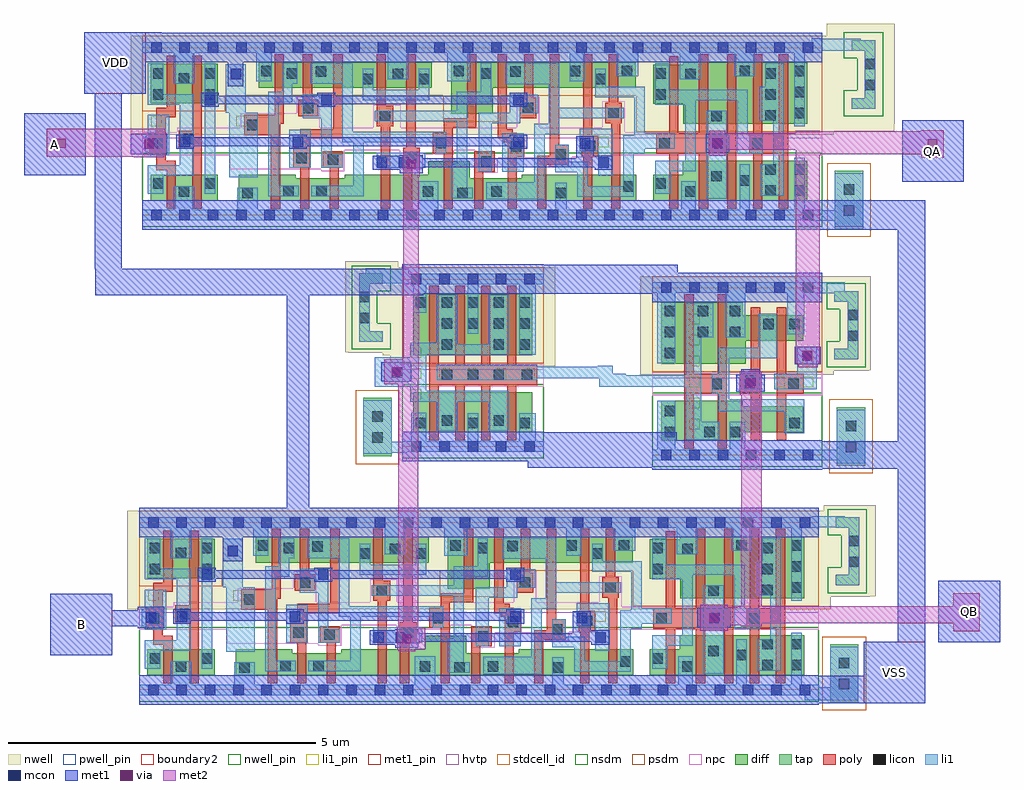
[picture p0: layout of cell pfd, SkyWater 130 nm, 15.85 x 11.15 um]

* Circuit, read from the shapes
.subckt pfd A B QA QB VDD VSS
XM1 VSS B n1 VSS sky130_fd_pr__nfet_01v8 w=0.42 l=0.15
XM2 VSS A n2 VSS sky130_fd_pr__nfet_01v8 w=0.42 l=0.15
XM3 n3 n1 VSS VSS sky130_fd_pr__nfet_01v8 w=0.42 l=0.15
XM4 n4 n2 VSS VSS sky130_fd_pr__nfet_01v8 w=0.42 l=0.15
XM5 n5 VDD VSS VSS sky130_fd_pr__nfet_01v8 w=0.42 l=0.15
XM6 n6 VDD VSS VSS sky130_fd_pr__nfet_01v8 w=0.42 l=0.15
XM7 n7 n1 n5 VSS sky130_fd_pr__nfet_01v8 w=0.36 l=0.15
XM8 n8 n2 n6 VSS sky130_fd_pr__nfet_01v8 w=0.36 l=0.15
XM9 n9 n3 n7 VSS sky130_fd_pr__nfet_01v8 w=0.36 l=0.15
XM10 n10 n4 n8 VSS sky130_fd_pr__nfet_01v8 w=0.36 l=0.15
XM11 n11 n12 n9 VSS sky130_fd_pr__nfet_01v8 w=0.42 l=0.15
XM12 n13 n14 n10 VSS sky130_fd_pr__nfet_01v8 w=0.42 l=0.15
XM13 VSS sky130_fd_sc_hd__dfrbp_2_1/RESET_B n11 VSS sky130_fd_pr__nfet_01v8 w=0.42 l=0.15
XM14 VSS sky130_fd_sc_hd__dfrbp_2_1/RESET_B n13 VSS sky130_fd_pr__nfet_01v8 w=0.42 l=0.15
XM15 sky130_fd_sc_hd__dfrbp_2_1/RESET_B sky130_fd_sc_hd__inv_4_0/A VSS VSS sky130_fd_pr__nfet_01v8 w=0.65 l=0.15 m=4
XM16 n12 n7 VSS VSS sky130_fd_pr__nfet_01v8 w=0.64 l=0.15
XM17 n14 n8 VSS VSS sky130_fd_pr__nfet_01v8 w=0.64 l=0.15
XM18 n15 n3 n12 VSS sky130_fd_pr__nfet_01v8 w=0.36 l=0.15
XM19 n16 n4 n14 VSS sky130_fd_pr__nfet_01v8 w=0.36 l=0.15
XM20 n17 n1 n15 VSS sky130_fd_pr__nfet_01v8 w=0.36 l=0.15
XM21 n18 n2 n16 VSS sky130_fd_pr__nfet_01v8 w=0.36 l=0.15
XM22 VSS n19 n17 VSS sky130_fd_pr__nfet_01v8 w=0.42 l=0.15
XM23 VSS n20 n18 VSS sky130_fd_pr__nfet_01v8 w=0.42 l=0.15
XM24 n21 sky130_fd_sc_hd__dfrbp_2_1/RESET_B VSS VSS sky130_fd_pr__nfet_01v8 w=0.42 l=0.15
XM25 n22 sky130_fd_sc_hd__dfrbp_2_1/RESET_B VSS VSS sky130_fd_pr__nfet_01v8 w=0.42 l=0.15
XM26 n19 n15 n21 VSS sky130_fd_pr__nfet_01v8 w=0.42 l=0.15
XM27 n20 n16 n22 VSS sky130_fd_pr__nfet_01v8 w=0.42 l=0.15
XM28 VSS n19 n23 VSS sky130_fd_pr__nfet_01v8 w=0.42 l=0.15
XM29 VSS n20 n24 VSS sky130_fd_pr__nfet_01v8 w=0.42 l=0.15
XM30 sky130_fd_sc_hd__inv_4_0/A n25 VSS VSS sky130_fd_pr__nfet_01v8 w=0.65 l=0.15 m=2
XM31 QB n19 VSS VSS sky130_fd_pr__nfet_01v8 w=0.65 l=0.15 m=2
XM32 QA n20 VSS VSS sky130_fd_pr__nfet_01v8 w=0.65 l=0.15 m=2
XM33 sky130_fd_sc_hd__dfrbp_2_1/Q_N n23 VSS VSS sky130_fd_pr__nfet_01v8 w=0.65 l=0.15 m=2
XM34 n26 QB VSS VSS sky130_fd_pr__nfet_01v8 w=0.42 l=0.15
XM35 sky130_fd_sc_hd__dfrbp_2_3/Q_N n24 VSS VSS sky130_fd_pr__nfet_01v8 w=0.65 l=0.15 m=2
XM36 n25 QA n26 VSS sky130_fd_pr__nfet_01v8 w=0.42 l=0.15
XM37 VDD B n1 VDD sky130_fd_pr__pfet_01v8_hvt w=0.64 l=0.15
XM38 VDD A n2 VDD sky130_fd_pr__pfet_01v8_hvt w=0.64 l=0.15
XM39 n3 n1 VDD VDD sky130_fd_pr__pfet_01v8_hvt w=0.64 l=0.15
XM40 n4 n2 VDD VDD sky130_fd_pr__pfet_01v8_hvt w=0.64 l=0.15
XM41 n5 VDD VDD VDD sky130_fd_pr__pfet_01v8_hvt w=0.42 l=0.15
XM42 n6 VDD VDD VDD sky130_fd_pr__pfet_01v8_hvt w=0.42 l=0.15
XM43 n7 n3 n5 VDD sky130_fd_pr__pfet_01v8_hvt w=0.42 l=0.15
XM44 n8 n4 n6 VDD sky130_fd_pr__pfet_01v8_hvt w=0.42 l=0.15
XM45 n27 n1 n7 VDD sky130_fd_pr__pfet_01v8_hvt w=0.42 l=0.15
XM46 n28 n2 n8 VDD sky130_fd_pr__pfet_01v8_hvt w=0.42 l=0.15
XM47 VDD n12 n27 VDD sky130_fd_pr__pfet_01v8_hvt w=0.42 l=0.15
XM48 VDD n14 n28 VDD sky130_fd_pr__pfet_01v8_hvt w=0.42 l=0.15
XM49 n27 sky130_fd_sc_hd__dfrbp_2_1/RESET_B VDD VDD sky130_fd_pr__pfet_01v8_hvt w=0.42 l=0.15
XM50 n28 sky130_fd_sc_hd__dfrbp_2_1/RESET_B VDD VDD sky130_fd_pr__pfet_01v8_hvt w=0.42 l=0.15
XM51 sky130_fd_sc_hd__dfrbp_2_1/RESET_B sky130_fd_sc_hd__inv_4_0/A VDD VDD sky130_fd_pr__pfet_01v8_hvt w=1 l=0.15 m=4
XM52 n12 n7 VDD VDD sky130_fd_pr__pfet_01v8_hvt w=0.84 l=0.15
XM53 n14 n8 VDD VDD sky130_fd_pr__pfet_01v8_hvt w=0.84 l=0.15
XM54 n15 n1 n12 VDD sky130_fd_pr__pfet_01v8_hvt w=0.42 l=0.15
XM55 n16 n2 n14 VDD sky130_fd_pr__pfet_01v8_hvt w=0.42 l=0.15
XM56 n29 n3 n15 VDD sky130_fd_pr__pfet_01v8_hvt w=0.42 l=0.15
XM57 n30 n4 n16 VDD sky130_fd_pr__pfet_01v8_hvt w=0.42 l=0.15
XM58 VDD n19 n29 VDD sky130_fd_pr__pfet_01v8_hvt w=0.42 l=0.15
XM59 VDD n20 n30 VDD sky130_fd_pr__pfet_01v8_hvt w=0.42 l=0.15
XM60 n19 sky130_fd_sc_hd__dfrbp_2_1/RESET_B VDD VDD sky130_fd_pr__pfet_01v8_hvt w=0.42 l=0.15
XM61 n20 sky130_fd_sc_hd__dfrbp_2_1/RESET_B VDD VDD sky130_fd_pr__pfet_01v8_hvt w=0.42 l=0.15
XM62 VDD n15 n19 VDD sky130_fd_pr__pfet_01v8_hvt w=0.42 l=0.15
XM63 VDD n16 n20 VDD sky130_fd_pr__pfet_01v8_hvt w=0.42 l=0.15
XM64 VDD n19 n23 VDD sky130_fd_pr__pfet_01v8_hvt w=0.64 l=0.15
XM65 VDD n20 n24 VDD sky130_fd_pr__pfet_01v8_hvt w=0.64 l=0.15
XM66 sky130_fd_sc_hd__inv_4_0/A n25 VDD VDD sky130_fd_pr__pfet_01v8_hvt w=1 l=0.15 m=2
XM67 QB n19 VDD VDD sky130_fd_pr__pfet_01v8_hvt w=1 l=0.15 m=2
XM68 QA n20 VDD VDD sky130_fd_pr__pfet_01v8_hvt w=1 l=0.15 m=2
XM69 sky130_fd_sc_hd__dfrbp_2_1/Q_N n23 VDD VDD sky130_fd_pr__pfet_01v8_hvt w=1 l=0.15 m=2
XM70 n25 QB VDD VDD sky130_fd_pr__pfet_01v8_hvt w=0.42 l=0.15
XM71 sky130_fd_sc_hd__dfrbp_2_3/Q_N n24 VDD VDD sky130_fd_pr__pfet_01v8_hvt w=1 l=0.15 m=2
XM72 VDD QA n25 VDD sky130_fd_pr__pfet_01v8_hvt w=0.42 l=0.15
.ends

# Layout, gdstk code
from math import pi, radians
import gdstk
lib = gdstk.Library(unit=1e-6, precision=1e-09)
def R(c, l, rs):  # rectangles x0, y0, x1, y1
    for r in rs: c.add(gdstk.rectangle(r[:2], r[2:], *l))
def A(c, l, x, y, w, h, nx, ny, dx, dy):  # array of equal rectangles
    R(c, l, [(x+i*dx, y+j*dy, x+i*dx+w, y+j*dy+h) for i in range(nx) for j in range(ny)])
def P(c, l, *ps):  # polygons
    for p in ps: c.add(gdstk.Polygon(p, *l))
nwell_pin = (64, 16)
nwell = (64, 20)
diff = (65, 20)
tap = (65, 44)
poly = (66, 20)
licon = (66, 44)
li1_pin = (67, 16)
li1 = (67, 20)
mcon = (67, 44)
met1_pin = (68, 16)
met1 = (68, 20)
via = (68, 44)
met2 = (69, 20)
hvtp = (78, 44)
stdcell_id = (81, 4)
nsdm = (93, 44)
psdm = (94, 20)
npc = (95, 20)
pwell_pin = (122, 16)
boundary2 = (236, 0)

sky130_fd_sc_hd__inv_4 = lib.new_cell('sky130_fd_sc_hd__inv_4')
R(sky130_fd_sc_hd__inv_4, nwell_pin, [(0.145,2.635,0.315,2.805)])
R(sky130_fd_sc_hd__inv_4, nwell, [(-0.19,1.305,2.49,2.91)])
R(sky130_fd_sc_hd__inv_4, diff, [(0.185,0.235,2.115,0.885), (0.185,1.485,2.115,2.485)])
P(sky130_fd_sc_hd__inv_4, poly, [(1.855,2.615),(1.705,2.615),(1.705,1.325),(1.435,1.325),(1.435,2.615),(1.285,2.615),(1.285,1.325),(1.015,1.325),(1.015,2.615),(0.865,2.615),(0.865,1.325),(0.595,1.325),(0.595,2.615),(0.445,2.615),(0.445,1.325),(0.105,1.325),(0.105,0.995),(0.445,0.995),(0.445,0.105),(0.595,0.105),(0.595,0.995),(0.865,0.995),(0.865,0.105),(1.015,0.105),(1.015,0.995),(1.285,0.995),(1.285,0.105),(1.435,0.105),(1.435,0.995),(1.705,0.995),(1.705,0.105),(1.855,0.105)])
A(sky130_fd_sc_hd__inv_4, licon, 0.645, 1.075, 0.17, 0.17, 3, 1, 0.42, 0)
A(sky130_fd_sc_hd__inv_4, licon, 0.225, 1.915, 0.17, 0.17, 4, 1, 0.42, 0)
A(sky130_fd_sc_hd__inv_4, licon, 0.225, 2.255, 0.17, 0.17, 5, 1, 0.42, 0)
R(sky130_fd_sc_hd__inv_4, licon, [(0.225,0.295,0.395,0.465), (1.065,0.295,1.235,0.465), (1.905,0.3,2.075,0.47), (0.645,0.335,0.815,0.505), (1.485,0.335,1.655,0.505), (0.185,1.075,0.355,1.245), (0.225,1.575,0.395,1.745), (0.645,1.575,0.815,1.745), (1.485,1.575,1.655,1.745)])
A(sky130_fd_sc_hd__inv_4, li1_pin, 0.145, 1.105, 0.17, 0.17, 5, 1, 0.46, 0)
R(sky130_fd_sc_hd__inv_4, li1_pin, [(1.985,0.765,2.155,0.935), (1.985,1.445,2.155,1.615)])
R(sky130_fd_sc_hd__inv_4, li1, [(0.105,1.075,1.735,1.325)])
P(sky130_fd_sc_hd__inv_4, li1, [(2.3,0.085),(2.155,0.085),(2.155,0.55),(1.905,0.55),(1.905,0.085),(1.235,0.085),(1.235,0.545),(1.065,0.545),(1.065,0.085),(0.395,0.085),(0.395,0.545),(0.13,0.545),(0.13,0.085),(0,0.085),(0,-0.085),(2.3,-0.085)],
  [(2.3,2.805),(0,2.805),(0,2.635),(0.13,2.635),(0.13,1.495),(0.395,1.495),(0.395,2.635),(1.065,2.635),(1.065,1.835),(1.235,1.835),(1.235,2.635),(1.905,2.635),(1.905,2.175),(2.115,2.175),(2.115,2.635),(2.3,2.635)],
  [(2.17,1.685),(1.735,1.685),(1.735,2.465),(1.405,2.465),(1.405,1.665),(0.895,1.665),(0.895,2.465),(0.565,2.465),(0.565,1.495),(1.905,1.495),(1.905,0.905),(0.565,0.905),(0.565,0.255),(0.895,0.255),(0.895,0.725),(1.405,0.725),(1.405,0.255),(1.735,0.255),(1.735,0.725),(2.17,0.725)])
A(sky130_fd_sc_hd__inv_4, mcon, 0.145, -0.085, 0.17, 0.17, 5, 2, 0.46, 2.72)
R(sky130_fd_sc_hd__inv_4, met1_pin, [(0.145,-0.085,0.315,0.085), (0.145,2.635,0.315,2.805)])
R(sky130_fd_sc_hd__inv_4, hvtp, [(0,1.25,2.3,2.72)])
R(sky130_fd_sc_hd__inv_4, stdcell_id, [(0,0,2.3,2.72)])
R(sky130_fd_sc_hd__inv_4, nsdm, [(0,-0.19,2.3,1.015)])
R(sky130_fd_sc_hd__inv_4, psdm, [(0,1.355,2.3,2.91)])
R(sky130_fd_sc_hd__inv_4, npc, [(0,0.975,2.3,1.345)])
R(sky130_fd_sc_hd__inv_4, pwell_pin, [(0.145,-0.085,0.315,0.085)])
R(sky130_fd_sc_hd__inv_4, boundary2, [(0,0,2.3,2.72)])
sky130_fd_sc_hd__inv_4.add(gdstk.FlexPath([(0,2.72),(2.3,2.72)], 0.48, ends="flush", simple_path=True, layer=68, datatype=20))  # met1
sky130_fd_sc_hd__inv_4.add(gdstk.FlexPath([(0,0),(2.3,0)], 0.48, ends="flush", simple_path=True, layer=68, datatype=20))  # met1
sky130_fd_sc_hd__inv_4.add(gdstk.Label('Y', (2.07,0.85), layer=67, texttype=5))
sky130_fd_sc_hd__inv_4.add(gdstk.Label('Y', (2.07,1.19), layer=67, texttype=5))
sky130_fd_sc_hd__inv_4.add(gdstk.Label('Y', (2.07,1.53), layer=67, texttype=5))
sky130_fd_sc_hd__inv_4.add(gdstk.Label('A', (0.23,1.19), layer=67, texttype=5))
sky130_fd_sc_hd__inv_4.add(gdstk.Label('A', (0.69,1.19), layer=67, texttype=5))
sky130_fd_sc_hd__inv_4.add(gdstk.Label('A', (1.15,1.19), layer=67, texttype=5))
sky130_fd_sc_hd__inv_4.add(gdstk.Label('A', (1.61,1.19), layer=67, texttype=5))
sky130_fd_sc_hd__inv_4.add(gdstk.Label('VPB', (0.23,2.72), layer=64, texttype=5))
sky130_fd_sc_hd__inv_4.add(gdstk.Label('VNB', (0.23,0), layer=64, texttype=59))
sky130_fd_sc_hd__inv_4.add(gdstk.Label('VPWR', (0.23,2.72), layer=68, texttype=5))
sky130_fd_sc_hd__inv_4.add(gdstk.Label('VGND', (0.23,0), layer=68, texttype=5))
sky130_fd_sc_hd__inv_4.add(gdstk.Label('inv_4', (0,0), layer=83, texttype=44))

sky130_fd_sc_hd__dfrbp_2 = lib.new_cell('sky130_fd_sc_hd__dfrbp_2')
R(sky130_fd_sc_hd__dfrbp_2, nwell_pin, [(0.145,2.635,0.315,2.805)])
R(sky130_fd_sc_hd__dfrbp_2, nwell, [(-0.19,1.305,11.23,2.91)])
R(sky130_fd_sc_hd__dfrbp_2, diff, [(0.135,0.235,1.225,0.655), (0.135,1.815,1.225,2.455), (3.305,2.065,4.7,2.485)])
P(sky130_fd_sc_hd__dfrbp_2, diff, [(8.015,2.485),(5.015,2.485),(5.015,1.645),(5.695,1.645),(5.695,2.065),(8.015,2.065)],
  [(10.8,0.885),(8.78,0.885),(8.78,0.655),(8.295,0.655),(8.295,0.235),(10.8,0.235)],
  [(8.025,0.655),(6.165,0.655),(6.165,0.595),(5.315,0.595),(5.315,0.875),(4.645,0.875),(4.645,0.655),(3.285,0.655),(3.285,0.595),(2.49,0.595),(2.49,0.655),(1.565,0.655),(1.565,0.235),(8.025,0.235)],
  [(3.335,2.485),(1.89,2.485),(1.89,2.065),(3.33,2.065),(3.33,2.48),(3.335,2.48)],
  [(10.8,2.485),(8.79,2.485),(8.79,2.445),(8.295,2.445),(8.295,1.805),(8.79,1.805),(8.79,1.485),(10.8,1.485)])
R(sky130_fd_sc_hd__dfrbp_2, poly, [(3.875,0.105,4.025,1.515), (4.29,1.055,4.44,2.615), (3.805,1.445,4.08,1.775), (3.805,1.76,3.955,2.615)])
P(sky130_fd_sc_hd__dfrbp_2, poly, [(7.79,1.825),(7.73,1.825),(7.73,2.615),(7.58,2.615),(7.58,1.825),(7.52,1.825),(7.52,1.495),(7.615,1.495),(7.615,0.105),(7.765,0.105),(7.765,1.495),(7.79,1.495)],
  [(10.49,2.615),(10.34,2.615),(10.34,1.325),(10.07,1.325),(10.07,2.615),(9.92,2.615),(9.92,1.325),(9.86,1.325),(9.86,0.995),(9.92,0.995),(9.92,0.105),(10.07,0.105),(10.07,0.995),(10.34,0.995),(10.34,0.105),(10.49,0.105)],
  [(0.545,0.88),(0.38,0.88),(0.38,1.59),(0.545,1.59),(0.545,2.585),(0.395,2.585),(0.395,1.74),(0.23,1.74),(0.23,1.325),(0.11,1.325),(0.11,0.995),(0.23,0.995),(0.23,0.73),(0.395,0.73),(0.395,0.105),(0.545,0.105)],
  [(0.965,2.585),(0.815,2.585),(0.815,1.37),(0.59,1.37),(0.59,1.1),(0.815,1.1),(0.815,0.105),(0.965,0.105)],
  [(2.3,2.615),(2.15,2.615),(2.15,1.63),(1.655,1.63),(1.655,1.3),(2.09,1.3),(2.09,0.105),(2.24,0.105),(2.24,1.48),(2.3,1.48)],
  [(3.255,2.615),(3.105,2.615),(3.105,1.395),(2.565,1.395),(2.565,1.095),(2.45,1.095),(2.45,0.765),(2.565,0.765),(2.565,0.105),(2.715,0.105),(2.715,0.765),(2.72,0.765),(2.72,1.245),(3.255,1.245)],
  [(2.86,1.875),(2.76,1.875),(2.76,2.615),(2.61,2.615),(2.61,1.875),(2.53,1.875),(2.53,1.605),(2.86,1.605)],
  [(3.26,1.035),(2.93,1.035),(2.93,0.765),(3.045,0.765),(3.045,0.105),(3.195,0.105),(3.195,0.765),(3.26,0.765)],
  [(4.505,1.095),(4.235,1.095),(4.235,0.105),(4.385,0.105),(4.385,0.765),(4.505,0.765)],
  [(5.425,2.615),(5.275,2.615),(5.275,1.57),(4.895,1.57),(4.895,1.335),(4.715,1.335),(4.715,1.005),(4.895,1.005),(4.895,0.105),(5.045,0.105),(5.045,1.42),(5.425,1.42)],
  [(5.725,1.035),(5.39,1.035),(5.39,0.105),(5.54,0.105),(5.54,0.705),(5.725,0.705)],
  [(6.205,1.275),(6.085,1.275),(6.085,1.335),(6.02,1.335),(6.02,1.395),(5.92,1.395),(5.92,2.615),(5.77,2.615),(5.77,1.245),(5.875,1.245),(5.875,1.185),(5.935,1.185),(5.935,0.105),(6.085,0.105),(6.085,0.945),(6.205,0.945)],
  [(6.4,1.905),(6.35,1.905),(6.35,2.615),(6.2,2.615),(6.2,1.905),(6.13,1.905),(6.13,1.575),(6.4,1.575)],
  [(6.925,1.145),(6.77,1.145),(6.77,2.615),(6.62,2.615),(6.62,0.965),(6.415,0.965),(6.415,0.105),(6.565,0.105),(6.565,0.815),(6.925,0.815)],
  [(7.405,1.285),(7.31,1.285),(7.31,2.615),(7.16,2.615),(7.16,1.285),(7.135,1.285),(7.135,0.955),(7.16,0.955),(7.16,0.105),(7.31,0.105),(7.31,0.955),(7.405,0.955)],
  [(9.65,2.615),(9.5,2.615),(9.5,1.325),(9.19,1.325),(9.19,2.615),(9.04,2.615),(9.04,1.325),(8.705,1.325),(8.705,2.575),(8.555,2.575),(8.555,1.325),(8.35,1.325),(8.35,0.995),(8.555,0.995),(8.555,0.105),(8.705,0.105),(8.705,0.995),(9.04,0.995),(9.04,0.105),(9.19,0.105),(9.19,0.995),(9.5,0.995),(9.5,0.105),(9.65,0.105)])
A(sky130_fd_sc_hd__dfrbp_2, licon, 10.12, 1.535, 0.17, 0.17, 1, 3, 0, 0.34)
A(sky130_fd_sc_hd__dfrbp_2, licon, 10.59, 1.575, 0.17, 0.17, 1, 3, 0, 0.34)
R(sky130_fd_sc_hd__dfrbp_2, licon, [(1.625,0.275,1.795,0.445), (5.115,0.275,5.285,0.445), (6.725,0.275,6.895,0.445), (0.595,0.295,0.765,0.465), (4.555,0.295,4.725,0.465), (5.665,0.295,5.835,0.465), (8.82,0.295,8.99,0.465), (2.29,0.305,2.46,0.475), (2.825,0.305,2.995,0.475), (10.12,0.315,10.29,0.485), (10.59,0.315,10.76,0.485), (7.815,0.375,7.985,0.545), (0.175,0.425,0.345,0.595), (1.015,0.425,1.185,0.595), (8.335,0.425,8.505,0.595), (9.7,0.48,9.87,0.65), (9.24,0.545,9.41,0.715), (10.12,0.655,10.29,0.825), (10.59,0.655,10.76,0.825), (5.505,0.785,5.675,0.955), (3.01,0.815,3.18,0.985), (2.5,0.845,2.67,1.015), (4.285,0.845,4.455,1.015), (6.705,0.895,6.875,1.065), (5.985,1.025,6.155,1.195), (7.185,1.035,7.355,1.205), (0.16,1.075,0.33,1.245), (8.4,1.075,8.57,1.245), (9.91,1.075,10.08,1.245), (4.765,1.085,4.935,1.255), (0.67,1.15,0.84,1.32), (1.705,1.38,1.875,1.55), (3.855,1.525,4.025,1.695), (9.24,1.525,9.41,1.695), (7.57,1.575,7.74,1.745), (2.61,1.655,2.78,1.825), (6.18,1.655,6.35,1.825), (0.175,1.875,0.345,2.045), (1.015,1.875,1.185,2.045), (8.335,1.875,8.505,2.045), (3.585,2.125,3.755,2.295), (4.49,2.125,4.66,2.295), (7.36,2.125,7.53,2.295), (0.595,2.135,0.765,2.305), (4.07,2.205,4.24,2.375), (8.82,2.205,8.99,2.375), (0.175,2.215,0.345,2.385), (1.015,2.215,1.185,2.385), (2.35,2.215,2.52,2.385), (5.495,2.215,5.665,2.385), (8.335,2.215,8.505,2.385), (2.815,2.245,2.985,2.415), (5.98,2.25,6.15,2.42), (1.93,2.255,2.1,2.425), (5.055,2.255,5.225,2.425), (6.94,2.255,7.11,2.425), (7.79,2.255,7.96,2.425), (9.7,2.255,9.87,2.425)])
R(sky130_fd_sc_hd__dfrbp_2, li1_pin, [(7.405,0.765,7.575,0.935), (9.255,1.065,9.415,1.245), (0.15,1.105,0.32,1.275), (7.405,1.105,7.575,1.275), (10.275,1.11,10.39,1.285), (0.15,1.445,0.32,1.615), (1.525,1.445,1.695,1.615)])
R(sky130_fd_sc_hd__dfrbp_2, li1, [(0,-0.085,9.2,0.085), (1.545,-0.03,1.875,0.445), (8.755,0.02,8.99,0.545), (10.59,0.025,10.76,0.93), (9.7,0.035,9.87,0.825), (4.475,0.055,4.805,0.545), (0.515,0.06,0.845,0.465), (6.705,0.065,6.895,0.525), (9.16,0.265,9.495,1.695), (1.015,0.345,1.185,2.465), (1.415,0.615,1.875,1.665), (5.845,0.705,6.195,1.325), (2.385,0.765,2.735,1.385), (3.805,0.765,4.595,1.015), (0.09,0.975,0.44,1.625), (8.145,1.075,8.65,1.325), (10.59,1.445,10.76,2.715), (3.775,1.525,5.13,1.695), (1.355,1.665,1.68,2.45), (0.515,2.135,0.845,2.665), (4.955,2.175,5.325,2.675), (6.94,2.175,7.19,2.69), (3.99,2.205,4.32,2.69), (8.73,2.205,9.07,2.675), (7.71,2.255,8.055,2.7), (9.62,2.255,9.95,2.675)])
P(sky130_fd_sc_hd__dfrbp_2, li1, [(0.84,1.965),(0.345,1.965),(0.345,2.465),(0.09,2.465),(0.09,1.795),(0.61,1.795),(0.61,0.805),(0.09,0.805),(0.09,0.345),(0.345,0.345),(0.345,0.635),(0.84,0.635)],
  [(2.54,0.475),(2.215,0.475),(2.215,1.835),(2.44,1.835),(2.44,2.135),(2.52,2.135),(2.52,2.465),(2.27,2.465),(2.27,2.005),(2.045,2.005),(2.045,0.305),(2.54,0.305)],
  [(3.26,0.985),(3.075,0.985),(3.075,1.965),(2.61,1.965),(2.61,1.575),(2.905,1.575),(2.905,0.765),(3.26,0.765)],
  [(4.935,1.355),(3.415,1.355),(3.415,2.465),(2.735,2.465),(2.735,2.135),(3.245,2.135),(3.245,1.185),(3.43,1.185),(3.43,0.475),(2.745,0.475),(2.745,0.305),(3.6,0.305),(3.6,1.185),(4.765,1.185),(4.765,1.005),(4.935,1.005)],
  [(5.665,2.465),(5.495,2.465),(5.495,2.005),(5.105,2.005),(5.105,0.835),(5.015,0.835),(5.015,0.275),(5.365,0.275),(5.365,0.445),(5.275,0.445),(5.275,1.835),(5.665,1.835)],
  [(6.43,1.955),(5.97,1.955),(5.97,1.665),(5.465,1.665),(5.465,0.705),(5.675,0.705),(5.675,1.495),(6.14,1.495),(6.14,1.655),(6.43,1.655)],
  [(7.645,1.405),(7.105,1.405),(7.105,1.035),(7.405,1.035),(7.405,0.635),(7.645,0.635)],
  [(7.82,1.745),(6.77,1.745),(6.77,2.465),(5.9,2.465),(5.9,2.125),(6.6,2.125),(6.6,1.485),(6.365,1.485),(6.365,0.535),(5.585,0.535),(5.585,0.255),(6.535,0.255),(6.535,1.315),(6.77,1.315),(6.77,1.575),(7.82,1.575)],
  [(9.2,2.805),(0,2.805),(0,2.635),(1.85,2.635),(1.85,2.175),(2.1,2.175),(2.1,2.635),(9.2,2.635)],
  [(8.16,2.085),(7.53,2.085),(7.53,2.375),(7.36,2.375),(7.36,1.915),(7.99,1.915),(7.99,1.295),(7.815,1.295),(7.815,0.465),(7.235,0.465),(7.235,0.865),(6.925,0.865),(6.925,1.145),(6.705,1.145),(6.705,0.695),(7.065,0.695),(7.065,0.295),(7.985,0.295),(7.985,0.995),(8.16,0.995)],
  [(10.42,2.465),(10.12,2.465),(10.12,2.08),(10.03,2.08),(10.03,1.535),(10.25,1.535),(10.25,0.825),(10.04,0.825),(10.04,0.31),(10.42,0.31)],
  [(10.08,1.325),(9.835,1.325),(9.835,2.035),(8.56,2.035),(8.56,2.465),(8.335,2.465),(8.335,1.795),(8.82,1.795),(8.82,0.885),(8.335,0.885),(8.335,0.345),(8.585,0.345),(8.585,0.715),(8.99,0.715),(8.99,1.865),(9.665,1.865),(9.665,0.995),(10.08,0.995)],
  [(4.66,2.375),(4.49,2.375),(4.49,2.035),(3.755,2.035),(3.755,2.375),(3.585,2.375),(3.585,1.865),(4.66,1.865)])
A(sky130_fd_sc_hd__dfrbp_2, mcon, 0.145, -0.085, 0.17, 0.17, 24, 2, 0.46, 2.72)
R(sky130_fd_sc_hd__dfrbp_2, mcon, [(3.805,0.765,3.975,0.935), (4.165,0.765,4.335,0.935), (7.405,0.765,7.575,0.935), (7.105,1.08,7.275,1.25), (0.61,1.105,0.78,1.275), (2.445,1.105,2.615,1.275), (6.025,1.105,6.195,1.275), (1.015,1.785,1.185,1.955), (2.905,1.785,3.075,1.955), (6.025,1.785,6.195,1.955)])
R(sky130_fd_sc_hd__dfrbp_2, met1_pin, [(0.145,-0.085,0.315,0.085), (0.145,2.635,0.315,2.805)])
R(sky130_fd_sc_hd__dfrbp_2, met1, [(7.045,0.91,7.335,1.28), (0.55,1.075,0.84,1.305), (5.965,1.075,6.255,1.305), (0.955,1.755,1.245,1.985), (5.965,1.755,6.255,1.985)])
P(sky130_fd_sc_hd__dfrbp_2, met1, [(7.635,0.965),(7.335,0.965),(7.335,0.92),(4.395,0.92),(4.395,0.965),(3.745,0.965),(3.745,0.735),(4.395,0.735),(4.395,0.78),(7.345,0.78),(7.345,0.735),(7.635,0.735)],
  [(6.075,1.94),(3.135,1.94),(3.135,1.985),(2.845,1.985),(2.845,1.94),(1.185,1.94),(1.185,1.8),(2.845,1.8),(2.845,1.755),(3.135,1.755),(3.135,1.8),(6.075,1.8)],
  [(6.045,1.26),(2.675,1.26),(2.675,1.305),(2.385,1.305),(2.385,1.26),(0.82,1.26),(0.82,1.12),(2.385,1.12),(2.385,1.075),(2.675,1.075),(2.675,1.12),(6.045,1.12)])
A(sky130_fd_sc_hd__dfrbp_2, hvtp, 9.2, 1.25, 0.46, 1.47, 4, 1, 0.46, 0)
R(sky130_fd_sc_hd__dfrbp_2, hvtp, [(0,1.25,9.2,2.72)])
R(sky130_fd_sc_hd__dfrbp_2, stdcell_id, [(0,0,11.04,2.72)])
R(sky130_fd_sc_hd__dfrbp_2, nsdm, [(0,-0.19,11.04,1.015)])
P(sky130_fd_sc_hd__dfrbp_2, psdm, [(11.04,2.91),(0,2.91),(0,1.685),(1.35,1.685),(1.35,1.935),(4.885,1.935),(4.885,1.515),(5.825,1.515),(5.825,1.935),(8.02,1.935),(8.02,1.355),(11.04,1.355)])
R(sky130_fd_sc_hd__dfrbp_2, npc, [(3.755,1.365,4.195,1.795)])
P(sky130_fd_sc_hd__dfrbp_2, npc, [(11.04,1.345),(7.84,1.345),(7.84,1.845),(7.47,1.845),(7.47,1.42),(6.45,1.42),(6.45,1.925),(6.08,1.925),(6.08,1.42),(2.88,1.42),(2.88,1.925),(2.51,1.925),(2.51,1.65),(1.6,1.65),(1.6,1.42),(0.565,1.42),(0.565,1.345),(0,1.345),(0,0.975),(1.425,0.975),(1.425,0.745),(2.91,0.745),(2.91,0.715),(3.28,0.715),(3.28,1.05),(4.185,1.05),(4.185,0.745),(4.555,0.745),(4.555,0.985),(5.055,0.985),(5.055,1.05),(5.405,1.05),(5.405,0.685),(5.775,0.685),(5.775,0.925),(6.605,0.925),(6.605,0.795),(6.975,0.795),(6.975,0.935),(7.455,0.935),(7.455,0.975),(11.04,0.975)])
R(sky130_fd_sc_hd__dfrbp_2, pwell_pin, [(0.145,-0.085,0.315,0.085)])
R(sky130_fd_sc_hd__dfrbp_2, boundary2, [(0,0,11.04,2.72)])
sky130_fd_sc_hd__dfrbp_2.add(gdstk.FlexPath([(0,0),(9.2,0)], 0.48, ends="flush", simple_path=True, layer=68, datatype=20))  # met1
sky130_fd_sc_hd__dfrbp_2.add(gdstk.FlexPath([(0,2.72),(9.2,2.72)], 0.48, ends="flush", simple_path=True, layer=68, datatype=20))  # met1
sky130_fd_sc_hd__dfrbp_2.add(gdstk.FlexPath([(10.12,0),(10.58,0)], 0.48, ends="flush", simple_path=True, layer=68, datatype=20))  # met1
sky130_fd_sc_hd__dfrbp_2.add(gdstk.FlexPath([(10.12,2.72),(10.58,2.72)], 0.48, ends="flush", simple_path=True, layer=68, datatype=20))  # met1
sky130_fd_sc_hd__dfrbp_2.add(gdstk.FlexPath([(10.58,2.72),(11.04,2.72)], 0.48, ends="flush", simple_path=True, layer=68, datatype=20))  # met1
sky130_fd_sc_hd__dfrbp_2.add(gdstk.FlexPath([(10.58,0),(11.04,0)], 0.48, ends="flush", simple_path=True, layer=68, datatype=20))  # met1
sky130_fd_sc_hd__dfrbp_2.add(gdstk.FlexPath([(9.2,0),(9.66,0)], 0.48, ends="flush", simple_path=True, layer=68, datatype=20))  # met1
sky130_fd_sc_hd__dfrbp_2.add(gdstk.FlexPath([(9.2,2.72),(9.66,2.72)], 0.48, ends="flush", simple_path=True, layer=68, datatype=20))  # met1
sky130_fd_sc_hd__dfrbp_2.add(gdstk.FlexPath([(9.66,0),(10.12,0)], 0.48, ends="flush", simple_path=True, layer=68, datatype=20))  # met1
sky130_fd_sc_hd__dfrbp_2.add(gdstk.FlexPath([(9.66,2.72),(10.12,2.72)], 0.48, ends="flush", simple_path=True, layer=68, datatype=20))  # met1
sky130_fd_sc_hd__dfrbp_2.add(gdstk.FlexPath([(10.12,2.72),(10.58,2.72)], 0.17, ends="flush", simple_path=True, layer=67, datatype=20))  # li1
sky130_fd_sc_hd__dfrbp_2.add(gdstk.FlexPath([(10.12,0),(10.58,0)], 0.17, ends="flush", simple_path=True, layer=67, datatype=20))  # li1
sky130_fd_sc_hd__dfrbp_2.add(gdstk.FlexPath([(10.58,0),(11.04,0)], 0.17, ends="flush", simple_path=True, layer=67, datatype=20))  # li1
sky130_fd_sc_hd__dfrbp_2.add(gdstk.FlexPath([(10.58,2.72),(11.04,2.72)], 0.17, ends="flush", simple_path=True, layer=67, datatype=20))  # li1
sky130_fd_sc_hd__dfrbp_2.add(gdstk.FlexPath([(9.2,2.72),(9.66,2.72)], 0.17, ends="flush", simple_path=True, layer=67, datatype=20))  # li1
sky130_fd_sc_hd__dfrbp_2.add(gdstk.FlexPath([(9.2,0),(9.66,0)], 0.17, ends="flush", simple_path=True, layer=67, datatype=20))  # li1
sky130_fd_sc_hd__dfrbp_2.add(gdstk.FlexPath([(9.66,2.72),(10.12,2.72)], 0.17, ends="flush", simple_path=True, layer=67, datatype=20))  # li1
sky130_fd_sc_hd__dfrbp_2.add(gdstk.FlexPath([(9.66,0),(10.12,0)], 0.17, ends="flush", simple_path=True, layer=67, datatype=20))  # li1
sky130_fd_sc_hd__dfrbp_2.add(gdstk.Label('Q', (9.335,1.155), layer=67, texttype=5))
sky130_fd_sc_hd__dfrbp_2.add(gdstk.Label('Q_N', (10.335,1.2), layer=67, texttype=5))
sky130_fd_sc_hd__dfrbp_2.add(gdstk.Label('RESET_B', (7.49,0.85), layer=67, texttype=5))
sky130_fd_sc_hd__dfrbp_2.add(gdstk.Label('D', (1.61,1.53), layer=67, texttype=5))
sky130_fd_sc_hd__dfrbp_2.add(gdstk.Label('CLK', (0.235,1.53), layer=67, texttype=5))
sky130_fd_sc_hd__dfrbp_2.add(gdstk.Label('CLK', (0.235,1.19), layer=67, texttype=5))
sky130_fd_sc_hd__dfrbp_2.add(gdstk.Label('RESET_B', (7.49,1.19), layer=67, texttype=5))
sky130_fd_sc_hd__dfrbp_2.add(gdstk.Label('VGND', (0.23,0), layer=68, texttype=5))
sky130_fd_sc_hd__dfrbp_2.add(gdstk.Label('VPWR', (0.23,2.72), layer=68, texttype=5))
sky130_fd_sc_hd__dfrbp_2.add(gdstk.Label('VPB', (0.23,2.72), layer=64, texttype=5))
sky130_fd_sc_hd__dfrbp_2.add(gdstk.Label('VNB', (0.23,0), layer=64, texttype=59))
sky130_fd_sc_hd__dfrbp_2.add(gdstk.Label('dfrbp_2', (0,0), layer=83, texttype=44))

sky130_fd_sc_hd__and2_2 = lib.new_cell('sky130_fd_sc_hd__and2_2')
R(sky130_fd_sc_hd__and2_2, nwell_pin, [(0.145,2.635,0.315,2.805)])
R(sky130_fd_sc_hd__and2_2, nwell, [(-0.19,1.305,2.95,2.91)])
P(sky130_fd_sc_hd__and2_2, diff, [(2.615,2.485),(1.285,2.485),(1.285,2.275),(0.305,2.275),(0.305,1.855),(1.235,1.855),(1.235,1.485),(2.615,1.485)],
  [(2.615,0.885),(1.285,0.885),(1.285,0.795),(0.305,0.795),(0.305,0.375),(1.285,0.375),(1.285,0.235),(2.615,0.235)])
P(sky130_fd_sc_hd__and2_2, poly, [(0.735,2.405),(0.585,2.405),(0.585,1.325),(0.3,1.325),(0.3,0.995),(0.585,0.995),(0.585,0.245),(0.735,0.245)],
  [(1.335,1.325),(1.155,1.325),(1.155,2.405),(1.005,2.405),(1.005,0.245),(1.155,0.245),(1.155,0.995),(1.335,0.995)],
  [(2.235,2.615),(2.085,2.615),(2.085,1.325),(1.695,1.325),(1.695,2.615),(1.545,2.615),(1.545,0.105),(1.695,0.105),(1.695,0.995),(2.085,0.995),(2.085,0.105),(2.235,0.105)])
A(sky130_fd_sc_hd__and2_2, licon, 2.385, 1.575, 0.17, 0.17, 1, 3, 0, 0.34)
R(sky130_fd_sc_hd__and2_2, licon, [(1.325,0.295,1.495,0.465), (1.745,0.295,1.915,0.465), (2.385,0.295,2.555,0.465), (0.365,0.435,0.535,0.605), (2.385,0.635,2.555,0.805), (0.38,1.075,0.55,1.245), (1.085,1.075,1.255,1.245), (1.625,1.075,1.795,1.245), (1.325,1.915,1.495,2.085), (1.845,1.915,2.015,2.085), (0.365,2.045,0.535,2.215), (0.785,2.045,0.955,2.215), (1.325,2.255,1.495,2.425), (1.845,2.255,2.015,2.425)])
A(sky130_fd_sc_hd__and2_2, li1_pin, 1.985, 0.425, 0.17, 0.17, 1, 6, 0, 0.34)
A(sky130_fd_sc_hd__and2_2, li1_pin, 0.145, 1.105, 0.17, 0.17, 3, 1, 0.46, 0)
R(sky130_fd_sc_hd__and2_2, li1_pin, [(0.145,1.445,0.315,1.615)])
R(sky130_fd_sc_hd__and2_2, li1, [(1.005,1.075,1.335,1.325)])
P(sky130_fd_sc_hd__and2_2, li1, [(0.085,1.075),(0.085,1.765),(0.4,1.765),(0.4,1.325),(0.775,1.325),(0.775,1.075)],
  [(1.795,1.325),(1.675,1.325),(1.675,1.745),(1.035,1.745),(1.035,2.295),(0.735,2.295),(0.735,1.575),(1.505,1.575),(1.505,0.905),(0.285,0.905),(0.285,0.355),(0.615,0.355),(0.615,0.715),(1.675,0.715),(1.675,0.995),(1.795,0.995)],
  [(2.76,0.085),(2.675,0.085),(2.675,0.885),(2.385,0.885),(2.385,0.085),(1.495,0.085),(1.495,0.545),(1.245,0.545),(1.245,0.085),(0,0.085),(0,-0.085),(2.76,-0.085)],
  [(2.215,2.465),(1.765,2.465),(1.765,1.915),(1.965,1.915),(1.965,0.545),(1.665,0.545),(1.665,0.255),(2.215,0.255)],
  [(2.76,2.805),(0,2.805),(0,2.635),(0.285,2.635),(0.285,1.965),(0.565,1.965),(0.565,2.635),(1.245,2.635),(1.245,1.915),(1.575,1.915),(1.575,2.635),(2.385,2.635),(2.385,1.495),(2.675,1.495),(2.675,2.635),(2.76,2.635)])
A(sky130_fd_sc_hd__and2_2, mcon, 0.145, -0.085, 0.17, 0.17, 6, 2, 0.46, 2.72)
R(sky130_fd_sc_hd__and2_2, met1_pin, [(0.145,-0.085,0.315,0.085), (0.145,2.635,0.315,2.805)])
R(sky130_fd_sc_hd__and2_2, hvtp, [(0,1.25,2.76,2.72)])
R(sky130_fd_sc_hd__and2_2, stdcell_id, [(0,0,2.76,2.72)])
R(sky130_fd_sc_hd__and2_2, nsdm, [(0,-0.19,2.76,1.015)])
R(sky130_fd_sc_hd__and2_2, psdm, [(0,1.355,2.76,2.91)])
R(sky130_fd_sc_hd__and2_2, npc, [(0,0.975,2.76,1.345)])
R(sky130_fd_sc_hd__and2_2, pwell_pin, [(0.145,-0.085,0.315,0.085)])
R(sky130_fd_sc_hd__and2_2, boundary2, [(0,0,2.76,2.72)])
sky130_fd_sc_hd__and2_2.add(gdstk.FlexPath([(0,0),(2.76,0)], 0.48, ends="flush", simple_path=True, layer=68, datatype=20))  # met1
sky130_fd_sc_hd__and2_2.add(gdstk.FlexPath([(0,2.72),(2.76,2.72)], 0.48, ends="flush", simple_path=True, layer=68, datatype=20))  # met1
sky130_fd_sc_hd__and2_2.add(gdstk.Label('VPWR', (0.23,2.72), layer=68, texttype=5))
sky130_fd_sc_hd__and2_2.add(gdstk.Label('VGND', (0.23,0), layer=68, texttype=5))
sky130_fd_sc_hd__and2_2.add(gdstk.Label('A', (0.69,1.19), layer=67, texttype=5))
sky130_fd_sc_hd__and2_2.add(gdstk.Label('X', (2.07,0.85), layer=67, texttype=5))
sky130_fd_sc_hd__and2_2.add(gdstk.Label('A', (0.23,1.19), layer=67, texttype=5))
sky130_fd_sc_hd__and2_2.add(gdstk.Label('X', (2.07,0.51), layer=67, texttype=5))
sky130_fd_sc_hd__and2_2.add(gdstk.Label('X', (2.07,1.19), layer=67, texttype=5))
sky130_fd_sc_hd__and2_2.add(gdstk.Label('X', (2.07,1.53), layer=67, texttype=5))
sky130_fd_sc_hd__and2_2.add(gdstk.Label('X', (2.07,1.87), layer=67, texttype=5))
sky130_fd_sc_hd__and2_2.add(gdstk.Label('X', (2.07,2.21), layer=67, texttype=5))
sky130_fd_sc_hd__and2_2.add(gdstk.Label('B', (1.15,1.19), layer=67, texttype=5))
sky130_fd_sc_hd__and2_2.add(gdstk.Label('VPB', (0.23,2.72), layer=64, texttype=5))
sky130_fd_sc_hd__and2_2.add(gdstk.Label('VNB', (0.23,0), layer=64, texttype=59))
sky130_fd_sc_hd__and2_2.add(gdstk.Label('and2_2', (0,0), layer=83, texttype=44))

pfd = lib.new_cell('pfd')
R(pfd, nwell, [(16.99,-7.64,17.1,-7.635), (16.99,-7.635,17.665,-7.63), (16.99,-7.63,17.76,-6.51), (16.71,-6.51,17.76,-6.33), (16.99,-6.33,17.76,-6.25), (16.92,-6.25,17.76,-6.15), (17.08,-3.965,17.645,-3.96), (17.08,-3.96,17.68,-2.64), (9.76,-3.72,9.95,-3.675), (9.205,-3.675,9.95,-3.67), (9.15,-3.67,9.95,-2.29), (16.72,-2.64,17.68,-2.43), (9.15,-2.29,10.01,-2.19), (16.97,-0.08,18.06,0.04), (16.97,0.04,18.07,1.67), (16.72,1.22,16.82,1.42), (16.72,1.42,16.89,1.43)])
R(pfd, tap, [(17.02,-9.36,17.48,-8.41), (17.11,-7.455,17.495,-7.285), (17.325,-7.285,17.495,-6.515), (17.11,-6.515,17.495,-6.345), (17.13,-5.51,17.59,-4.56), (9.44,-5.36,9.9,-4.41), (17.09,-3.785,17.475,-3.615), (17.305,-3.615,17.475,-2.845), (9.375,-3.495,9.76,-3.325), (9.375,-3.325,9.545,-2.555), (17.09,-2.845,17.475,-2.675), (9.375,-2.555,9.76,-2.385), (17.1,-1.67,17.56,-0.72), (17.37,0.29,17.755,0.46), (17.585,0.46,17.755,1.23), (17.37,1.23,17.755,1.4)])
R(pfd, licon, [(17.165,-9.14,17.335,-8.97), (17.165,-8.8,17.335,-8.63), (17.325,-7.155,17.495,-6.985), (17.325,-6.815,17.495,-6.645), (17.275,-5.29,17.445,-5.12), (9.585,-5.14,9.755,-4.97), (17.275,-4.95,17.445,-4.78), (9.585,-4.8,9.755,-4.63), (17.305,-3.485,17.475,-3.315), (9.375,-3.195,9.545,-3.025), (17.305,-3.145,17.475,-2.975), (9.375,-2.855,9.545,-2.685), (17.245,-1.45,17.415,-1.28), (17.245,-1.11,17.415,-0.94), (17.585,0.59,17.755,0.76), (17.585,0.93,17.755,1.1)])
R(pfd, li1, [(16.61,-9.32,17.48,-9.11), (17.02,-9.11,17.48,-8.45), (5.84,-8.12,6.15,-7.83), (15.02,-8.1,15.26,-7.86), (17.11,-7.455,17.495,-7.285), (17.325,-7.285,17.495,-6.515), (7.22,-7,7.42,-6.79), (17.11,-6.515,17.495,-6.51), (16.73,-6.51,17.495,-6.345), (16.73,-6.345,17.26,-6.33), (17.13,-5.47,17.59,-5.42), (16.8,-5.42,17.59,-5.25), (9.44,-5.32,9.9,-5.3), (9.44,-5.3,10.15,-5.12), (17.13,-5.25,17.59,-4.6), (9.44,-5.12,9.9,-4.45), (15.61,-4.26,15.85,-4), (9.63,-4.23,10.38,-3.75), (13.27,-4.23,14.92,-4.09), (11.96,-4.09,14.92,-4.04), (11.96,-4.04,13.7,-4.02), (11.96,-4.02,13.49,-3.9), (13.25,-3.9,13.49,-3.89), (16.56,-3.81,16.74,-3.64), (17.09,-3.785,17.475,-3.615), (17.305,-3.615,17.475,-2.845), (9.375,-3.495,9.76,-3.325), (9.375,-3.325,9.545,-2.555), (17.09,-2.845,17.475,-2.71), (16.79,-2.71,17.475,-2.675), (16.79,-2.675,17.26,-2.53), (9.375,-2.555,9.69,-2.55), (9.375,-2.55,10.18,-2.385), (9.48,-2.385,10.18,-2.31), (9.48,-2.31,9.79,-2.3), (17.1,-1.63,17.56,-1.53), (16.72,-1.53,17.56,-1.36), (17.1,-1.36,17.56,-0.76), (5.9,-0.41,6.19,-0.15), (15.06,-0.38,15.32,-0.17), (17.37,0.29,17.755,0.46), (17.585,0.46,17.755,1.23), (7.28,0.74,7.46,0.96), (16.72,1.22,16.82,1.23), (16.72,1.23,17.755,1.4), (16.72,1.4,17.52,1.42), (16.72,1.42,16.89,1.43)])
R(pfd, mcon, [(15.055,-8.065,15.225,-7.895), (5.91,-8.06,6.08,-7.89), (7.235,-6.98,7.405,-6.81), (15.645,-4.215,15.815,-4.045), (9.9,-4.085,10.07,-3.915), (16.565,-3.81,16.735,-3.64), (5.94,-0.365,6.11,-0.195), (15.105,-0.36,15.275,-0.19), (7.285,0.765,7.455,0.935)])
R(pfd, met1_pin, [(17.57,-9.37,18.57,-8.37), (4.36,-8.59,5.36,-7.59), (18.78,-8.38,19.78,-7.38), (18.19,-0.9,19.19,0.1), (3.93,-0.79,4.93,0.21), (4.91,0.53,5.91,1.53)])
R(pfd, met1, [(16.41,-9.37,18.57,-8.92), (17.57,-8.92,18.57,-8.37), (4.36,-8.59,5.36,-8.12), (9.96,-8.47,10.33,-8.17), (18.78,-8.38,19.78,-7.38), (18.12,-8.37,18.57,-5.56), (5.78,-8.15,6.21,-8.12), (14.86,-8.14,15.41,-7.82), (4.36,-8.12,6.21,-7.86), (4.36,-7.86,5.36,-7.59), (5.78,-7.86,6.21,-7.8), (7.155,-7.065,7.48,-6.57), (8.2,-6.57,8.56,-2.74), (16.45,-5.56,18.57,-5.11), (12.11,-5.54,14.53,-4.97), (18.12,-5.11,18.57,-1.68), (15.58,-4.32,15.88,-4.31), (15.5,-4.31,15.96,-4.03), (9.79,-4.15,10.18,-4.14), (9.73,-4.14,10.22,-3.83), (15.58,-4.03,15.88,-3.94), (16.45,-3.86,16.87,-3.58), (5.09,-2.74,10.41,-2.31), (11.95,-2.72,14.55,-2.25), (5.08,-2.31,5.52,0.53), (16.46,-1.68,18.57,-1.2), (18.19,-0.9,19.19,0.1), (3.93,-0.79,4.93,0.21), (10.035,-0.765,10.405,-0.465), (5.66,-0.45,6.26,-0.12), (15.01,-0.43,15.37,-0.41), (15,-0.41,15.38,-0.14), (15.01,-0.14,15.37,-0.12), (4.91,0.53,5.91,1.21), (7.24,0.65,7.49,1.25), (4.91,1.21,6.17,1.53)])
R(pfd, via, [(10.07,-8.395,10.22,-8.245), (15.06,-8.055,15.21,-7.905), (19.16,-7.965,19.31,-7.815), (15.655,-4.245,15.805,-4.095), (9.9,-4.06,10.05,-3.91), (16.585,-3.795,16.735,-3.645), (10.145,-0.69,10.295,-0.54), (5.885,-0.36,6.035,-0.21), (18.61,-0.36,18.76,-0.21), (4.455,-0.35,4.605,-0.2), (15.115,-0.35,15.265,-0.2)])
R(pfd, met2, [(10.01,-8.52,10.28,-8.49), (9.99,-8.49,10.45,-8.14), (19.02,-8.2,19.45,-8.07), (14.91,-8.19,15.36,-8.1), (10.01,-8.14,10.33,-4.19), (15.58,-8.12,15.91,-8.1), (14.91,-8.1,15.91,-8.07), (14.91,-8.07,19.45,-7.81), (14.91,-7.81,15.36,-7.77), (15.52,-7.81,19.45,-7.79), (15.58,-7.79,15.91,-4.36), (19.02,-7.79,19.45,-7.58), (15.55,-4.36,15.91,-3.98), (9.78,-4.19,10.33,-4.13), (9.78,-4.13,10.34,-3.78), (16.5,-3.91,16.82,-3.85), (16.46,-3.85,16.85,-0.45), (10.09,-3.78,10.34,-0.815), (10.085,-0.815,10.355,-0.415), (18.5,-0.51,18.87,-0.45), (5.71,-0.5,6.21,-0.49), (4.3,-0.49,6.21,-0.47), (15.06,-0.48,15.32,-0.38), (4.3,-0.47,6.23,-0.11), (16.46,-0.45,18.87,-0.38), (15.05,-0.38,18.87,-0.11), (4.3,-0.11,6.22,-0.05), (15.06,-0.11,15.32,-0.07), (16.46,-0.11,18.87,-0.08), (16.46,-0.08,16.85,-0.07), (18.5,-0.08,18.87,-0.06), (4.3,-0.05,6.21,-0.04)])
R(pfd, nsdm, [(16.985,-7.58,17.62,-7.16), (17.2,-7.16,17.62,-6.64), (16.985,-6.64,17.62,-6.22), (16.965,-3.91,17.6,-3.49), (9.25,-3.62,9.885,-3.2), (17.18,-3.49,17.6,-2.97), (9.25,-3.2,9.67,-2.68), (16.965,-2.97,17.6,-2.55), (9.25,-2.68,9.885,-2.26), (17.245,0.165,17.88,0.585), (17.46,0.585,17.88,1.105), (17.245,1.105,17.88,1.525)])
R(pfd, psdm, [(16.895,-9.485,17.605,-8.285), (17.005,-5.635,17.715,-4.435), (9.315,-5.485,10.025,-4.285), (16.975,-1.795,17.685,-0.595)])
pfd.add(gdstk.Reference(sky130_fd_sc_hd__inv_4, (12.37,-5.2), rotation=pi, x_reflection=True))
pfd.add(gdstk.Reference(sky130_fd_sc_hd__dfrbp_2, (5.8,-9.15)))
pfd.add(gdstk.Reference(sky130_fd_sc_hd__and2_2, (16.89,-5.34), rotation=pi, x_reflection=True))
pfd.add(gdstk.Reference(sky130_fd_sc_hd__dfrbp_2, (5.85,-1.44)))
pfd.add(gdstk.Label('VSS', (18.07,-8.87), layer=68, texttype=5))
pfd.add(gdstk.Label('VDD', (5.41,1.03), layer=68, texttype=5))
pfd.add(gdstk.Label('A', (4.43,-0.29), layer=68, texttype=5))
pfd.add(gdstk.Label('QA', (18.69,-0.4), layer=68, texttype=5))
pfd.add(gdstk.Label('QB', (19.28,-7.88), layer=68, texttype=5))
pfd.add(gdstk.Label('B', (4.86,-8.09), layer=68, texttype=5))

lib.write_gds('pfd.gds')
